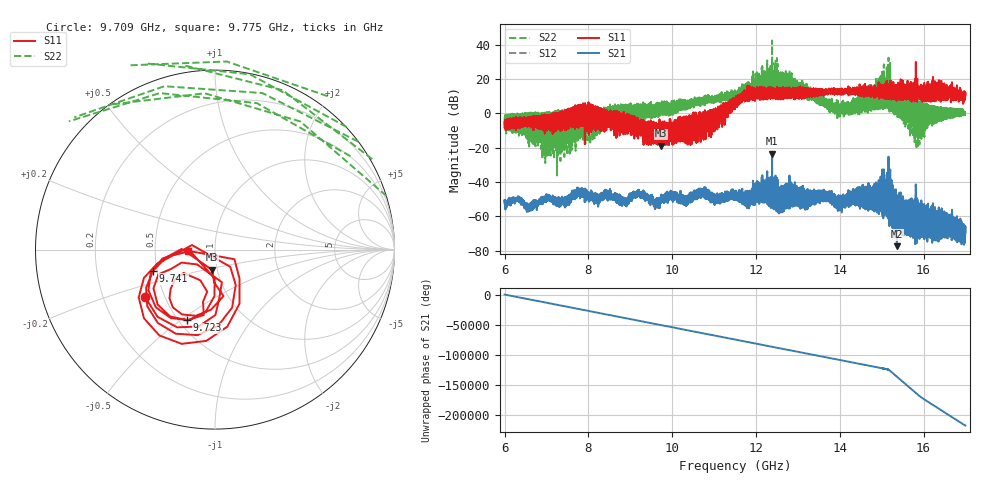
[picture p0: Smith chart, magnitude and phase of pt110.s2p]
#  HZ  S  RI  R  50.00
! Rohde & Schwarz Vector Network Analyzer
! Rohde-Schwarz,ZNA67-2Port,1332450062101215,3.01
! Created: UTC 10/19/2026, 2:47:48 PM
! freq[Hz]  re:S11  im:S11  re:S21  im:S21  re:S12  im:S12  re:S22  im:S22
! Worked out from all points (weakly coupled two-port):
!   11001 points, 6 GHz to 17 GHz, reference 50 ohm
!   highest |S21| = -23.49 dB at 12.38 GHz (marker M1); lowest = -77.4 dB at 15.37 GHz (marker M2)
!   lowest |S11| = -18.9 dB at 9.738 GHz (marker M3), VSWR 1.26, Z = 47.2 - j10.7 ohm
!   |S11| at or under -10 dB: 9.503411 GHz to 9.508206 GHz (4.795 MHz wide, 0.0504 % of centre); 9.654633 GHz to 9.660057 GHz (5.424 MHz wide, 0.0562 % of centre); 9.830819 GHz to 9.836531 GHz (5.712 MHz wide, 0.0581 % of centre) (the widest 3 of 194)
!   |S22| runs from -36.2 to 42.4 dB; largest |S21 - S12| = 0.0028
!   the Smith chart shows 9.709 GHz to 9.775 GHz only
!   S11 on the Smith chart (normalised r, x): 9.709 GHz: 0.39, -0.27; 9.723 GHz: 0.55, -0.53; 9.741 GHz: 0.47, -0.13; 9.775 GHz: 0.74, -0.01
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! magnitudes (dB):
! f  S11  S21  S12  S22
! 6 GHz  -5.2  -51.2  -51.2  -2.4
! 6.337 GHz  -3.8  -50.1  -50.0  -1.3
! 6.596 GHz  -6.6  -54.0  -54.0  -5.4
! 7.834 GHz  -6.8  -47.7  -47.6  -11.3
! 8.868 GHz  -2.0  -50.1  -49.9  3.3
! 9.235 GHz  -10.1  -49.3  -49.2  -1.8
! 9.667 GHz  -11.9  -54.0  -54.0  -1.4
! 9.709 GHz  -6.5  -50.1  -50.3  3.7
! 9.723 GHz  -7.5  -52.1  -52.3  0.5
! 9.738 GHz  -18.9  -51.0  -51.2  1.3
! 9.741 GHz  -8.7  -50.4  -50.6  4.9
! 9.775 GHz  -16.3  -50.5  -50.6  5.0
! 10.85 GHz  1.2  -46.3  -46.3  9.0
! 11.5 GHz  4.2  -48.8  -48.8  9.2
! 12.38 GHz  9.4  -23.5  -23.2  42.4
! 13.33 GHz  10.7  -51.3  -51.6  9.4
! 13.65 GHz  11.5  -48.2  -48.0  6.5
! 13.99 GHz  11.8  -53.1  -53.6  1.1
! 15.17 GHz  10.2  -58.6  -58.4  3.4
! 15.37 GHz  9.9  -77.4  -77.0  -0.3
! 15.85 GHz  20.1  -49.9  -49.4  3.9
! 17 GHz  10.8  -69.5  -68.4  1.5
